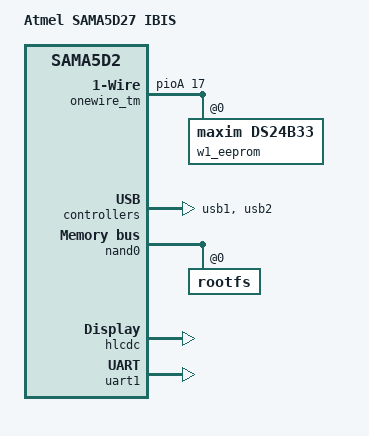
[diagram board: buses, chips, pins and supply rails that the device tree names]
/*
 * at91-sama5d27_ibis.dts - Device Tree file for SAMA5D27 SOM1 IBIS board
 *
 */
/dts-v1/;
#include "sama5d27_som1.dtsi"

/ {
	model = "Atmel SAMA5D27 IBIS";
	compatible = "atmel,sama5d27-som1-ek", "atmel,sama5d27-ibis", "atmel,sama5d2", "atmel,sama5";

	chosen {
		u-boot,dm-pre-reloc;
		stdout-path = &uart1;
	};

	onewire_tm: onewire {
		gpios = <&pioA 17 0>;
		pinctrl-names = "default";
		pinctrl-0 = <&pinctrl_onewire_tm_default>;
		status = "okay";

		w1_eeprom: w1_eeprom@0 {
			compatible = "maxim,ds24b33";
			status = "okay";
		};
	};

	ahb {
		usb1: ohci@00400000 {
			num-ports = <3>;
			atmel,vbus-gpio = <&pioA 42 0>;
			pinctrl-names = "default";
			pinctrl-0 = <&pinctrl_usb_default>;
			status = "okay";
		};

		usb2: ehci@00500000 {
			status = "okay";
		};

		nand0: nand@80000000 {
			nand-bus-width = <8>;
			nand-ecc-mode = "hw";
			nand-on-flash-bbt;
			atmel,has-pmecc;
			label = "atmel_nand";
			pinctrl-names = "default";
			pinctrl-0 = <&pinctrl_nand_default>;
			status = "okay";
			u-boot,dm-pre-reloc;

			rootfs@0 {
				label = "rootfs";
				reg = <0x0 0x3fffffff>;
			};
		};

		apb {
			hlcdc: hlcdc@f0000000 {
				atmel,vl-bpix = <4>;
				atmel,guard-time = <1>;
				pinctrl-names = "default";
				pinctrl-0 = <&pinctrl_lcd_base &pinctrl_lcd_pwm &pinctrl_lcd_rgb666>;
				status = "okay";
				u-boot,dm-pre-reloc;

				display-timings {
					u-boot,dm-pre-reloc;
					480x272 {
						clock-frequency = <9000000>;
						hactive = <480>;
						vactive = <272>;
						hsync-len = <41>;
						hfront-porch = <2>;
						hback-porch = <2>;
						vfront-porch = <2>;
						vback-porch = <2>;
						vsync-len = <11>;
						u-boot,dm-pre-reloc;
					};
				};
			};

			uart1: serial@f8020000 {
				pinctrl-names = "default";
				pinctrl-0 = <&pinctrl_uart1_default>;
				status = "okay";
				u-boot,dm-pre-reloc;
			};

			pioA: gpio@fc038000 {
				pinctrl {
					pinctrl_nand_default: nand-0 {
						re_we_data {
            			    pinmux = <PIN_PA0__D0>,
            			     <PIN_PA1__D1>,
            			     <PIN_PA2__D2>,
						     <PIN_PA3__D3>,
						     <PIN_PA4__D4>,
						     <PIN_PA5__D5>,
						     <PIN_PA6__D6>,
						     <PIN_PA7__D7>,
						     <PIN_PA8__NWE_NANDWE>,
						     <PIN_PA12__NRD_NANDOE>;
						    bias-pull-up;
						    atmel,drive-strength = <2>;
					    };

					    ale_cle_rdy_cs {
					    	pinmux = <PIN_PA10__A21_NANDALE>,
					    		     <PIN_PA11__A22_NANDCLE>,
					    		     <PIN_PA21__NANDRDY>,
					    		     <PIN_PA9__NCS3>;
					    	bias-pull-up;
					    };
					};

					pinctrl_lcd_base: pinctrl_lcd_base {
						pinmux = <PIN_PC5__LCDVSYNC>,
							 <PIN_PC6__LCDHSYNC>,
							 <PIN_PC8__LCDDEN>,
							 <PIN_PC7__LCDPCK>;
						bias-disable;
					};

					pinctrl_lcd_pwm: pinctrl_lcd_pwm {
						pinmux = <PIN_PC3__LCDPWM>;
						bias-disable;
					};

					pinctrl_lcd_rgb666: pinctrl_lcd_rgb666 {
						pinmux = <PIN_PB13__LCDDAT2>,
							 <PIN_PB14__LCDDAT3>,
							 <PIN_PB15__LCDDAT4>,
							 <PIN_PB16__LCDDAT5>,
							 <PIN_PB17__LCDDAT6>,
							 <PIN_PB18__LCDDAT7>,
							 <PIN_PB21__LCDDAT10>,
							 <PIN_PB22__LCDDAT11>,
							 <PIN_PB23__LCDDAT12>,
							 <PIN_PB24__LCDDAT13>,
							 <PIN_PB25__LCDDAT14>,
							 <PIN_PB26__LCDDAT15>,
							 <PIN_PB29__LCDDAT18>,
							 <PIN_PB30__LCDDAT19>,
							 <PIN_PB31__LCDDAT20>,
							 <PIN_PC0__LCDDAT21>,
							 <PIN_PC1__LCDDAT22>,
							 <PIN_PC2__LCDDAT23>;
						bias-disable;
					};

					pinctrl_uart1_default: uart1_default {
						pinmux = <PIN_PD2__URXD1>,
							 <PIN_PD3__UTXD1>;
						bias-disable;
						u-boot,dm-pre-reloc;
					};

					pinctrl_usb_default: usb_default {
						pinmux = <PIN_PB10__GPIO>;
						bias-disable;
					};

					pinctrl_usba_vbus: usba_vbus {
						pinmux = <PIN_PA31__GPIO>;
						bias-disable;
					};

					pinctrl_onewire_tm_default: onewire_tm_default {
						pinmux = <PIN_PA17__GPIO>;
						bias-pull-up;
					};
				};
			};
		};
	};
};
